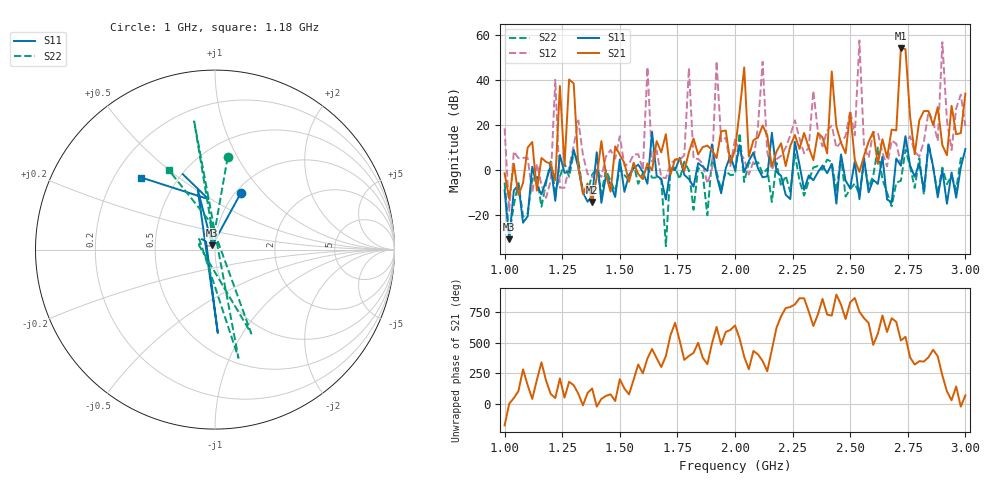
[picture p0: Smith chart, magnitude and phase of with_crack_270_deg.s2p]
# MHz S MA R 50
!  freq  S11  S21  S12  S22
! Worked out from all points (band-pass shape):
!   101 points, 1 GHz to 3 GHz, reference 50 ohm
!   highest |S21| = 54.12 dB at 2.72 GHz (marker M1); lowest = -14.4 dB at 1.38 GHz (marker M2)
!   |S21| within 3 dB of the highest: 2.718 GHz to 2.742 GHz (23.38 MHz wide, 0.856 % of centre)
!   lowest |S11| = -30.9 dB at 1.02 GHz (marker M3), VSWR 1.06, Z = 48.5 + j2.35 ohm
!   |S11| at or under -10 dB: 1.064 GHz to 1.11 GHz (45.74 MHz wide, 4.21 % of centre); 1.34 GHz to 1.382 GHz (41.89 MHz wide, 3.08 % of centre); 2.217 GHz to 2.242 GHz (24.97 MHz wide, 1.12 % of centre) (the widest 3 of 17)
!   |S22| runs from -34.0 to 16.3 dB; largest |S21 - S12| = 7.6e+02
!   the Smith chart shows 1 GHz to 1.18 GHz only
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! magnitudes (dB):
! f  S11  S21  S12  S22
! 1 GHz  -9.1  -1.6  18.4  -5.7
! 1.02 GHz  -30.9  -12.9  -18.3  -29.1
! 1.18 GHz  -4.8  3.5  -12.4  -5.8
! 1.22 GHz  -13.8  -4.6  40.1  -9.7
! 1.28 GHz  -0.9  40.2  1.2  -3.1
! 1.34 GHz  -10.1  -10.8  6.6  -9.6
! 1.38 GHz  -11.7  -14.4  -3.3  -2.2
! 1.6 GHz  -1.0  -4.2  -0.1  -1.5
! 1.62 GHz  -6.2  2.9  45.7  1.0
! 1.68 GHz  -4.0  7.8  -3.3  -4.4
! 1.8 GHz  -4.2  7.9  45.3  -0.2
! 1.88 GHz  -0.5  10.8  -6.2  -20.3
! 1.92 GHz  -2.6  5.2  48.4  -0.9
! 2 GHz  -0.1  8.8  13.5  -2.1
! 2.04 GHz  -1.0  45.6  4.8  -5.4
! 2.34 GHz  -4.7  4.3  35.2  1.0
! 2.68 GHz  -14.6  17.9  13.1  -16.2
! 2.72 GHz  1.8  54.1  2.6  -4.9
! 2.78 GHz  -3.1  6.9  8.0  -8.1
! 2.88 GHz  -12.2  27.9  12.8  -10.9
! 2.9 GHz  -0.1  10.9  56.8  1.0
! 3 GHz  9.3  33.9  19.5  5.8
